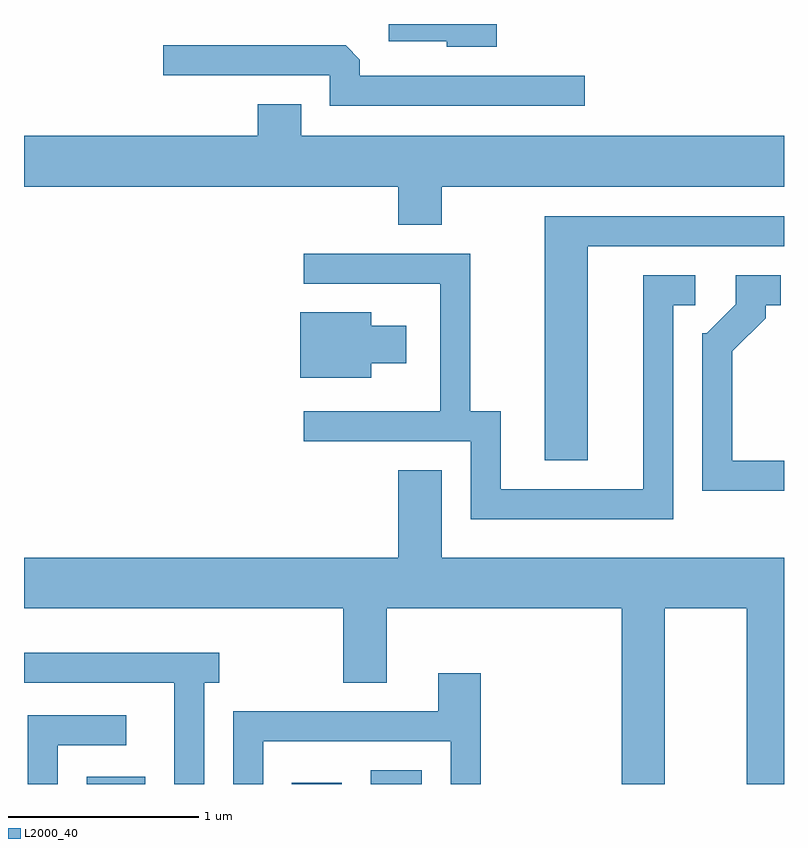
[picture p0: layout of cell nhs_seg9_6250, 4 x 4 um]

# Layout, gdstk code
import gdstk
lib = gdstk.Library(unit=1e-6, precision=1e-09)
def R(c, l, rs):  # rectangles x0, y0, x1, y1
    for r in rs: c.add(gdstk.rectangle(r[:2], r[2:], *l))
def P(c, l, *ps):  # polygons
    for p in ps: c.add(gdstk.Polygon(p, *l))
L2000_40 = (2000, 40)

nhs_seg9_6250 = lib.new_cell('nhs_seg9_6250')
R(nhs_seg9_6250, L2000_40, [(369.941,2006.432,370.249,2006.469), (371.021,2006.432,371.284,2006.439), (371.436,2006.432,371.704,2006.504)])
P(nhs_seg9_6250, L2000_40, [(372.099,2010.432),(371.531,2010.432),(371.531,2010.341),(371.836,2010.341),(371.836,2010.311),(372.099,2010.311)],
  [(372.563,2010.159),(371.379,2010.159),(371.379,2010.244),(371.304,2010.319),(370.343,2010.319),(370.343,2010.161),(371.221,2010.161),(371.221,2010.001),(372.563,2010.001)],
  [(371.809,2009.576),(373.611,2009.576),(373.611,2009.844),(371.069,2009.844),(371.069,2010.009),(370.841,2010.009),(370.841,2009.844),(369.611,2009.844),(369.611,2009.576),(371.581,2009.576),(371.581,2009.376),(371.809,2009.376)],
  [(372.579,2009.261),(373.611,2009.261),(373.611,2009.419),(372.351,2009.419),(372.351,2008.136),(372.579,2008.136)],
  [(373.029,2008.951),(373.143,2008.951),(373.143,2009.109),(372.871,2009.109),(372.871,2007.984),(372.119,2007.984),(372.119,2008.394),(371.959,2008.394),(371.959,2009.224),(371.083,2009.224),(371.083,2009.066),(371.801,2009.066),(371.801,2008.394),(371.083,2008.394),(371.083,2008.236),(371.961,2008.236),(371.961,2007.826),(373.029,2007.826)],
  [(373.611,2008.134),(373.339,2008.134),(373.339,2008.709),(373.514,2008.884),(373.514,2008.951),(373.593,2008.951),(373.593,2009.109),(373.356,2009.109),(373.356,2008.957),(373.204,2008.804),(373.181,2008.804),(373.181,2007.976),(373.611,2007.976)],
  [(371.439,2008.646),(371.624,2008.646),(371.624,2008.844),(371.439,2008.844),(371.439,2008.914),(371.066,2008.914),(371.066,2008.571),(371.439,2008.571)],
  [(369.611,2007.356),(371.291,2007.356),(371.291,2006.966),(371.519,2006.966),(371.519,2007.356),(372.756,2007.356),(372.756,2006.432),(372.984,2006.432),(372.984,2007.356),(373.416,2007.356),(373.416,2006.432),(373.611,2006.432),(373.611,2007.624),(371.809,2007.624),(371.809,2008.084),(371.581,2008.084),(371.581,2007.624),(369.611,2007.624)],
  [(370.559,2006.966),(370.638,2006.966),(370.638,2007.124),(369.611,2007.124),(369.611,2006.966),(370.401,2006.966),(370.401,2006.432),(370.559,2006.432)],
  [(370.869,2006.656),(371.856,2006.656),(371.856,2006.432),(372.014,2006.432),(372.014,2007.014),(371.791,2007.014),(371.791,2006.814),(370.711,2006.814),(370.711,2006.432),(370.869,2006.432)],
  [(369.789,2006.636),(370.148,2006.636),(370.148,2006.794),(369.631,2006.794),(369.631,2006.432),(369.789,2006.432)])

lib.write_gds('nhs_seg9_6250.gds')
